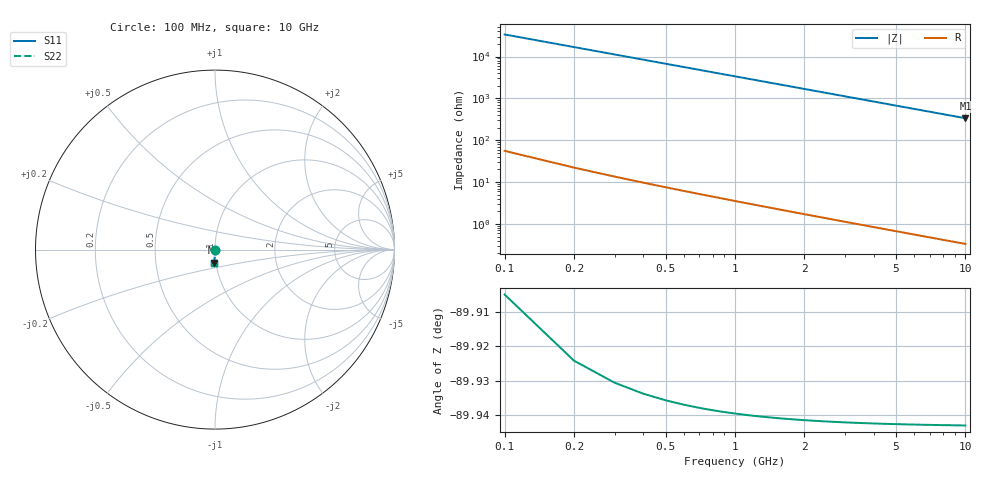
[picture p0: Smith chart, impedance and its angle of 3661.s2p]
# Hz S RI R 50.00
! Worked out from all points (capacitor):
!   100 points, 100 MHz to 10 GHz, reference 50 ohm
!   read as one part in shunt: C = 47.4 fF near 100 MHz
!   lowest |Z| = 336 ohm at 10 GHz (marker M1)
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1e8  1.01e-05 -0.000732  1 -0.000757  1 -0.000757  1.01e-05 -0.000732
2e8  7.79e-06 -0.00146  1 -0.00151  1 -0.00151  7.79e-06 -0.00146
3e8  4.35e-06 -0.0022  1 -0.00227  1 -0.00227  4.35e-06 -0.0022
4e8  -2.17e-07 -0.00293  1 -0.00303  1 -0.00303  -2.17e-07 -0.00293
5e8  -5.89e-06 -0.00366  1 -0.00378  1 -0.00378  -5.89e-06 -0.00366
6e8  -1.27e-05 -0.00439  1 -0.00454  1 -0.00454  -1.27e-05 -0.00439
7e8  -2.06e-05 -0.00512  1 -0.0053  1 -0.0053  -2.06e-05 -0.00512
8e8  -2.96e-05 -0.00586  0.9999 -0.00605  0.9999 -0.00605  -2.96e-05 -0.00586
9e8  -3.97e-05 -0.00659  0.9999 -0.00681  0.9999 -0.00681  -3.97e-05 -0.00659
1.1e9  -6.33e-05 -0.00805  0.9999 -0.00832  0.9999 -0.00832  -6.33e-05 -0.00805
1.4e9  -0.000107 -0.0102  0.9999 -0.0106  0.9999 -0.0106  -0.000107 -0.0102
1.8e9  -0.000181 -0.0132  0.9998 -0.0136  0.9998 -0.0136  -0.000181 -0.0132
2.1e9  -0.000248 -0.0154  0.9997 -0.0159  0.9997 -0.0159  -0.000248 -0.0154
2.5e9  -0.000352 -0.0183  0.9996 -0.0189  0.9996 -0.0189  -0.000352 -0.0183
2.9e9  -0.000475 -0.0212  0.9995 -0.0219  0.9995 -0.0219  -0.000475 -0.0212
3.4e9  -0.000653 -0.0249  0.9993 -0.0257  0.9993 -0.0257  -0.000653 -0.0249
4.2e9  -0.000995 -0.0307  0.999 -0.0318  0.999 -0.0318  -0.000995 -0.0307
5.1e9  -0.00146 -0.0373  0.9985 -0.0385  0.9985 -0.0385  -0.00146 -0.0373
5.9e9  -0.00196 -0.0431  0.998 -0.0446  0.998 -0.0446  -0.00196 -0.0431
6.7e9  -0.00252 -0.0489  0.9975 -0.0506  0.9975 -0.0506  -0.00252 -0.0489
8.4e9  -0.00394 -0.0613  0.996 -0.0634  0.996 -0.0634  -0.00394 -0.0613
1e10  -0.00557 -0.0728  0.9944 -0.0753  0.9944 -0.0753  -0.00557 -0.0728
